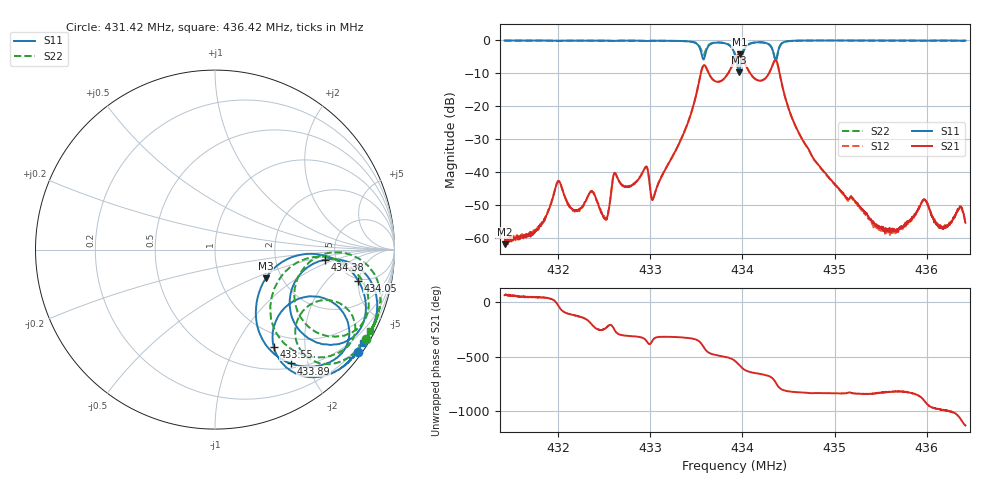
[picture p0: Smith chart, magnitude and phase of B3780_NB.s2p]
! Matrix data file written by TouchstoneData, EPCOS AG
! FILENAME: "newformat_B3780_SB.s2p"
! COMMENT: "22 Jul 2004 S11-NoP:1601;Caltype:FULL2PORT;P"
! INFO: nport=2, nfreq=1601
! DATE: "Wed Sep 19 15:43:54 2012"
! USER: "Wilfried Schott"
! port | pin | signal
!  1  |  2  |  IN
!  2  |  5  |  OUT
# MHZ S MA R 50
! freq  magS11 angS11  magS21 angS21  magS12 angS12  magS22 angS22
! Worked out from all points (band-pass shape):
!   1601 points, 431.42 MHz to 436.42 MHz, reference 50 ohm
!   highest |S21| = -4.33 dB at 433.97 MHz (marker M1); lowest = -62.0 dB at 431.42 MHz (marker M2)
!   |S21| within 3 dB of the highest: 433.8956 MHz to 434.0312 MHz (135.7 kHz wide, 0.0313 % of centre); 434.3317 MHz to 434.3819 MHz (50.2 kHz wide, 0.0116 % of centre)
!   lowest |S11| = -9.8 dB at 433.96 MHz (marker M3), VSWR 1.96, Z = 82.8 - j29.6 ohm
!   |S11| at or under -10 dB: nowhere
!   |S22| runs from -8.1 to -0.2 dB; largest |S21 - S12| = 0.002
!   S11 on the Smith chart (normalised r, x): 431.42 MHz: 0.11, -3.13; 433.55 MHz: 0.80, -1.45; 433.89 MHz: 0.57, -1.72; 434.05 MHz: 4.73, -4.88; 434.38 MHz: 4.07, -0.73; 436.42 MHz: 0.16, -3.45
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431.42  0.9797 -35.5  0.000792 65.7  0.0007465 64.8  0.9767 -30.7
431.7919  0.9791 -35.9  0.001513 45.9  0.001452 43.0  0.9758 -31.1
432.0013  0.9703 -36.2  0.007252 -29.1  0.007237 -29.4  0.9704 -31.3
432.2544  0.9771 -36.7  0.00281 -135.8  0.002824 -137.9  0.9751 -31.6
432.37  0.9717 -36.8  0.005101 152.3  0.005043 151.4  0.9726 -31.8
432.52  0.9751 -37.2  0.001889 124.4  0.00196 123.3  0.9746 -32.1
432.62  0.9684 -37.1  0.009425 95.6  0.009582 95.3  0.9702 -32.0
433.0888  0.9734 -39.5  0.006736 41.6  0.006858 41.5  0.9718 -34.1
433.5544  0.6348 -58.9  0.334 -19.5  0.3349 -19.5  0.6948 -48.8
433.6637  0.8788 -31.5  0.267 -114.2  0.2666 -114.0  0.8907 -28.7
433.8856  0.7621 -56.4  0.4003 -160.9  0.3999 -160.8  0.775 -49.5
433.92  0.5836 -62.1  0.5137 -179.2  0.5137 -179.1  0.6085 -53.8
433.9638  0.3246 -29.5  0.6075 145.0  0.6081 145.0  0.3946 -24.8
433.97  0.341 -18.9  0.6075 139.3  0.6075 139.3  0.4105 -17.4
434.0481  0.816 -12.2  0.3835 88.9  0.3824 89.0  0.8231 -10.8
434.295  0.8425 -39.0  0.3238 39.1  0.3241 39.1  0.8418 -35.0
434.3825  0.6159 -5.2  0.4271 -46.3  0.4265 -46.2  0.6208 -2.0
434.7544  0.9787 -26.9  0.01748 -115.8  0.01737 -115.7  0.9768 -22.9
435.5888  0.9798 -31.1  0.001253 -103.6  0.001212 -103.1  0.9795 -26.8
435.9731  0.9763 -31.9  0.003877 175.6  0.003734 175.5  0.9754 -27.4
436.1544  0.9779 -32.1  0.001402 93.4  0.001484 91.1  0.9767 -27.6
436.42  0.9754 -32.3  0.001691 -52.0  0.001709 -50.7  0.9738 -27.8
